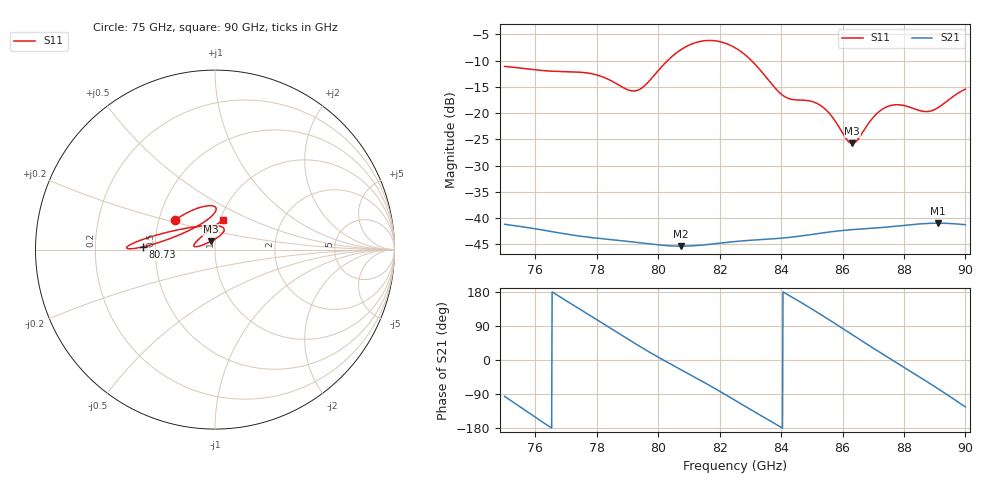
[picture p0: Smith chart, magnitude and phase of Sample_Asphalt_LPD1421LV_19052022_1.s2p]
!SWISSto12 MCK measurement data
!name=Sample_Asphalt_LPD1421LV_19052022_1
!thickness[mm]=18.000
# GHz S RI R 50.0
!freq ReS11 ImS11 ReS21 ImS21 ReS12 ImS12 ReS22 ImS22
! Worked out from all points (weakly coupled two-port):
!   961 points, 75 GHz to 90 GHz, reference 50 ohm
!   highest |S21| = -40.98 dB at 89.11 GHz (marker M1); lowest = -45.4 dB at 80.73 GHz (marker M2)
!   lowest |S11| = -25.8 dB at 86.31 GHz (marker M3), VSWR 1.11, Z = 47.6 + j4.37 ohm
!   |S11| at or under -10 dB: start of sweep to 80.3 GHz; 83.04 GHz to end of sweep
!   S12 and S22 are empty: the file has one direction only
!   S11 on the Smith chart (normalised r, x): 75 GHz: 0.60, +0.21; 80.73 GHz: 0.43, +0.02; 90 GHz: 1.03, +0.35
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75  -0.2254 0.1643  -0.00091 -0.00867  0 0  0 0
77.5  -0.0164 0.2441  -0.00444 0.00501  0 0  0 0
78.375  0.0014 0.2099  0.000263 0.00626  0 0  0 0
79.20312  -0.0843 0.1389  0.00412 0.00422  0 0  0 0
79.51562  -0.1415 0.1081  0.00496 0.00291  0 0  0 0
80  -0.2459 0.0631  0.0055 0.000726  0 0  0 0
80.73438  -0.401 0.0154  0.00488 -0.0023  0 0  0 0
81.625  -0.4921 0.00899  0.00237 -0.00507  0 0  0 0
82.5  -0.4169 0.0514  -0.00168 -0.00573  0 0  0 0
83.04688  -0.302 0.0874  -0.00416 -0.00453  0 0  0 0
84.0625  -0.0646 0.1322  -0.00645 3.88e-05  0 0  0 0
85  0.0477 0.1201  -0.00491 0.00496  0 0  0 0
85.51562  0.0439 0.0938  -0.00234 0.00694  0 0  0 0
86.14062  -0.00528 0.0557  0.00186 0.00745  0 0  0 0
86.3125  -0.023 0.0459  0.00303 0.00714  0 0  0 0
86.48438  -0.0411 0.0371  0.00415 0.00663  0 0  0 0
87.07812  -0.0949 0.0175  0.00714 0.00368  0 0  0 0
87.5  -0.1153 0.0172  0.00819 0.000844  0 0  0 0
87.92188  -0.1157 0.0291  0.00816 -0.00223  0 0  0 0
88.70312  -0.069 0.077  0.00511 -0.00724  0 0  0 0
89.10938  -0.0308 0.1083  0.00218 -0.00866  0 0  0 0
90  0.0424 0.1635  -0.00482 -0.00717  0 0  0 0
